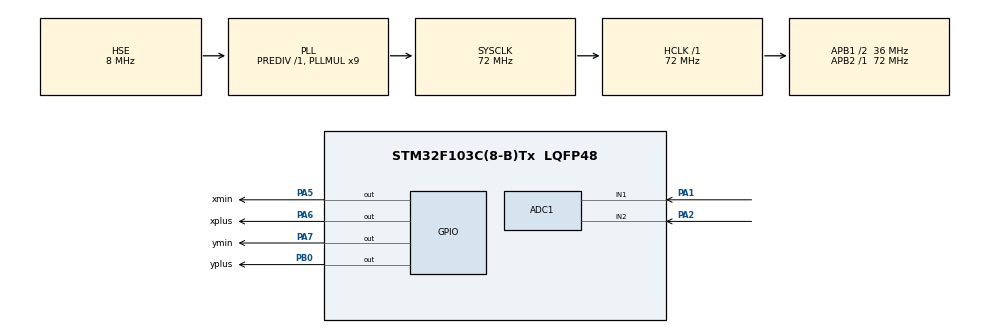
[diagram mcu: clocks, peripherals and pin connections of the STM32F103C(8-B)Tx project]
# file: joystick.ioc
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ADC1.Channel-0\#ChannelRegularConversion=ADC_CHANNEL_1
ADC1.Channel-1\#ChannelRegularConversion=ADC_CHANNEL_2
ADC1.ContinuousConvMode=ENABLE
ADC1.EnableInjectedConversion=ENABLE
ADC1.NbrOfConversion=2
ADC1.NbrOfConversionFlag=1
ADC1.Rank-1\#ChannelRegularConversion=2
ADC1.SamplingTime-0\#ChannelRegularConversion=ADC_SAMPLETIME_239CYCLES_5
ADC1.SamplingTime-1\#ChannelRegularConversion=ADC_SAMPLETIME_239CYCLES_5
ADC1.master=1
Dma.ADC1.0.Direction=DMA_PERIPH_TO_MEMORY
Dma.ADC1.0.Instance=DMA1_Channel1
Dma.ADC1.0.MemDataAlignment=DMA_MDATAALIGN_WORD
Dma.ADC1.0.MemInc=DMA_MINC_ENABLE
Dma.ADC1.0.Mode=DMA_CIRCULAR
Dma.ADC1.0.PeriphDataAlignment=DMA_PDATAALIGN_WORD
Dma.ADC1.0.PeriphInc=DMA_PINC_DISABLE
Dma.ADC1.0.Priority=DMA_PRIORITY_LOW
Dma.Request0=ADC1
Mcu.Family=STM32F1
Mcu.Name=STM32F103C(8-B)Tx
Mcu.Package=LQFP48
NVIC.DMA1_Channel1_IRQn=true\:0\:0\:false\:false\:true\:false\:true\:true
NVIC.PriorityGroup=NVIC_PRIORITYGROUP_4
PA1.Signal=ADCx_IN1
PA13.Mode=Serial_Wire
PA13.Signal=SYS_JTMS-SWDIO
PA14.Mode=Serial_Wire
PA14.Signal=SYS_JTCK-SWCLK
PA2.Signal=ADCx_IN2
PA5.GPIO_Label=xmin
PA5.GPIO_ModeDefaultOutputPP=GPIO_MODE_OUTPUT_PP
PA5.GPIO_PuPd=GPIO_NOPULL
PA5.GPIO_Speed=GPIO_SPEED_FREQ_HIGH
PA5.PinState=GPIO_PIN_RESET
PA5.Signal=GPIO_Output
PA6.GPIO_Label=xplus
PA6.GPIO_ModeDefaultOutputPP=GPIO_MODE_OUTPUT_PP
PA6.GPIO_PuPd=GPIO_NOPULL
PA6.GPIO_Speed=GPIO_SPEED_FREQ_HIGH
PA6.PinState=GPIO_PIN_RESET
PA6.Signal=GPIO_Output
PA7.GPIO_Label=ymin
PA7.GPIO_ModeDefaultOutputPP=GPIO_MODE_OUTPUT_PP
PA7.GPIO_PuPd=GPIO_NOPULL
PA7.GPIO_Speed=GPIO_SPEED_FREQ_HIGH
PA7.PinState=GPIO_PIN_RESET
PA7.Signal=GPIO_Output
PB0.GPIO_Label=yplus
PB0.GPIO_ModeDefaultOutputPP=GPIO_MODE_OUTPUT_PP
PB0.GPIO_PuPd=GPIO_NOPULL
PB0.GPIO_Speed=GPIO_SPEED_FREQ_HIGH
PB0.PinState=GPIO_PIN_RESET
PB0.Signal=GPIO_Output
PD0-OSC_IN.Mode=HSE-External-Oscillator
PD0-OSC_IN.Signal=RCC_OSC_IN
PD1-OSC_OUT.Mode=HSE-External-Oscillator
PD1-OSC_OUT.Signal=RCC_OSC_OUT
ProjectManager.HeapSize=0x200
ProjectManager.StackSize=0x400
ProjectManager.TargetToolchain=STM32CubeIDE
RCC.ADCPresc=RCC_ADCPCLK2_DIV6
RCC.AHBFreq_Value=72000000
RCC.APB1CLKDivider=RCC_HCLK_DIV2
RCC.APB1Freq_Value=36000000
RCC.APB1TimFreq_Value=72000000
RCC.APB2Freq_Value=72000000
RCC.APB2TimFreq_Value=72000000
RCC.HCLKFreq_Value=72000000
RCC.PLLMUL=RCC_PLL_MUL9
RCC.PLLSourceVirtual=RCC_PLLSOURCE_HSE
RCC.SYSCLKFreq_VALUE=72000000
RCC.SYSCLKSource=RCC_SYSCLKSOURCE_PLLCLK
RCC.USBFreq_Value=48000000
RCC.USBPrescaler=RCC_USBCLKSOURCE_PLL_DIV1_5
SH.ADCx_IN1.0=ADC1_IN1,IN1
SH.ADCx_IN2.0=ADC1_IN2,IN2
board=custom

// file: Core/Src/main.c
/* USER CODE BEGIN Header */
/**
  ******************************************************************************
  * @file           : main.c
  * @brief          : Main program body
  ******************************************************************************
  * @attention
  *
  * Copyright (c) 2023 STMicroelectronics.
  * All rights reserved.
  *
  * This software is licensed under terms that can be found in the LICENSE file
  * in the root directory of this software component.
  * If no LICENSE file comes with this software, it is provided AS-IS.
  *
  ******************************************************************************
  */
/* USER CODE END Header */
#include "main.h"

ADC_HandleTypeDef hadc1;
DMA_HandleTypeDef hdma_adc1;

void SystemClock_Config(void);
static void MX_GPIO_Init(void);
static void MX_DMA_Init(void);
static void MX_ADC1_Init(void);

/* USER CODE BEGIN 0 */
uint32_t VR[2];

/* USER CODE END 0 */

int main(void)
{

  /* MCU Configuration--------------------------------------------------------*/

  /* Reset of all peripherals, Initializes the Flash interface and the Systick. */
  HAL_Init();

  /* Configure the system clock */
  SystemClock_Config();

  /* Initialize all configured peripherals */
  MX_GPIO_Init();
  MX_DMA_Init();
  MX_ADC1_Init();
  /* USER CODE BEGIN 2 */
  HAL_ADC_Start_DMA(&hadc1, VR, 2);  // start adc in dma mode for multichannel

  /* USER CODE END 2 */

  /* Infinite loop */
  while (1)
  {

    /* USER CODE BEGIN 3 */
	  if ((VR[0]>=2000)&&(VR[0]<=3000))   // if the value is between 2000 to 3000
	 	  {
	 		  HAL_GPIO_WritePin(xmin_GPIO_Port, xmin_Pin, GPIO_PIN_RESET);  // turn of xmin led
	 		  HAL_GPIO_WritePin(xplus_GPIO_Port, xplus_Pin, GPIO_PIN_RESET);  // turn of xplus led
	 	  }

	 	  if ((VR[1]>=2000) && (VR[1]<=3000))
	 	  {
	 		  HAL_GPIO_WritePin(ymin_GPIO_Port, ymin_Pin, GPIO_PIN_RESET);  // turn off ymin
	 		  HAL_GPIO_WritePin(yplus_GPIO_Port, yplus_Pin, GPIO_PIN_RESET);  // turn of yplus
	 	  }

	 	  if ((VR[0]>=4000))  // towards xplus
	 	  {
	 		  HAL_GPIO_WritePin(xmin_GPIO_Port, xmin_Pin, GPIO_PIN_RESET);
	 		  HAL_GPIO_WritePin(xplus_GPIO_Port, xplus_Pin, GPIO_PIN_SET);
	 	  }

	 	  if ((VR[0]<=800))  // towards xmin
	 	  {
	 		  HAL_GPIO_WritePin(xmin_GPIO_Port, xmin_Pin, GPIO_PIN_SET);
	 		  HAL_GPIO_WritePin(xplus_GPIO_Port, xplus_Pin, GPIO_PIN_RESET);
	 	  }

	 	  if ((VR[1]>=4000))   // towards yplus
	 	  {
	 		  HAL_GPIO_WritePin(ymin_GPIO_Port, ymin_Pin, GPIO_PIN_RESET);
	 		  HAL_GPIO_WritePin(yplus_GPIO_Port, yplus_Pin, GPIO_PIN_SET);
	 	  }

	 	  if ((VR[1]<=800))  // ymin
	 	  {
	 		  HAL_GPIO_WritePin(ymin_GPIO_Port, ymin_Pin, GPIO_PIN_SET);
	 		  HAL_GPIO_WritePin(yplus_GPIO_Port, yplus_Pin, GPIO_PIN_RESET);
	 	  }
  }
  /* USER CODE END 3 */
}

void SystemClock_Config(void)
{
  RCC_OscInitTypeDef RCC_OscInitStruct = {0};
  RCC_ClkInitTypeDef RCC_ClkInitStruct = {0};
  RCC_PeriphCLKInitTypeDef PeriphClkInit = {0};

  /** Initializes the RCC Oscillators according to the specified parameters
  * in the RCC_OscInitTypeDef structure.
  */
  RCC_OscInitStruct.OscillatorType = RCC_OSCILLATORTYPE_HSE;
  RCC_OscInitStruct.HSEState = RCC_HSE_ON;
  RCC_OscInitStruct.HSEPredivValue = RCC_HSE_PREDIV_DIV1;
  RCC_OscInitStruct.HSIState = RCC_HSI_ON;
  RCC_OscInitStruct.PLL.PLLState = RCC_PLL_ON;
  RCC_OscInitStruct.PLL.PLLSource = RCC_PLLSOURCE_HSE;
  RCC_OscInitStruct.PLL.PLLMUL = RCC_PLL_MUL9;
  if (HAL_RCC_OscConfig(&RCC_OscInitStruct) != HAL_OK)
  {
    Error_Handler();
  }

  /** Initializes the CPU, AHB and APB buses clocks
  */
  RCC_ClkInitStruct.ClockType = RCC_CLOCKTYPE_HCLK|RCC_CLOCKTYPE_SYSCLK
                              |RCC_CLOCKTYPE_PCLK1|RCC_CLOCKTYPE_PCLK2;
  RCC_ClkInitStruct.SYSCLKSource = RCC_SYSCLKSOURCE_PLLCLK;
  RCC_ClkInitStruct.AHBCLKDivider = RCC_SYSCLK_DIV1;
  RCC_ClkInitStruct.APB1CLKDivider = RCC_HCLK_DIV2;
  RCC_ClkInitStruct.APB2CLKDivider = RCC_HCLK_DIV1;

  if (HAL_RCC_ClockConfig(&RCC_ClkInitStruct, FLASH_LATENCY_2) != HAL_OK)
  {
    Error_Handler();
  }
  PeriphClkInit.PeriphClockSelection = RCC_PERIPHCLK_ADC;
  PeriphClkInit.AdcClockSelection = RCC_ADCPCLK2_DIV6;
  if (HAL_RCCEx_PeriphCLKConfig(&PeriphClkInit) != HAL_OK)
  {
    Error_Handler();
  }
}

static void MX_ADC1_Init(void)
{

  ADC_ChannelConfTypeDef sConfig = {0};

  /** Common config
  */
  hadc1.Instance = ADC1;
  hadc1.Init.ScanConvMode = ADC_SCAN_ENABLE;
  hadc1.Init.ContinuousConvMode = ENABLE;
  hadc1.Init.DiscontinuousConvMode = DISABLE;
  hadc1.Init.ExternalTrigConv = ADC_SOFTWARE_START;
  hadc1.Init.DataAlign = ADC_DATAALIGN_RIGHT;
  hadc1.Init.NbrOfConversion = 2;
  if (HAL_ADC_Init(&hadc1) != HAL_OK)
  {
    Error_Handler();
  }

  /** Configure Regular Channel
  */
  sConfig.Channel = ADC_CHANNEL_1;
  sConfig.Rank = ADC_REGULAR_RANK_1;
  sConfig.SamplingTime = ADC_SAMPLETIME_239CYCLES_5;
  if (HAL_ADC_ConfigChannel(&hadc1, &sConfig) != HAL_OK)
  {
    Error_Handler();
  }

  /** Configure Regular Channel
  */
  sConfig.Channel = ADC_CHANNEL_2;
  sConfig.Rank = ADC_REGULAR_RANK_2;
  if (HAL_ADC_ConfigChannel(&hadc1, &sConfig) != HAL_OK)
  {
    Error_Handler();
  }

}

static void MX_DMA_Init(void)
{

  /* DMA controller clock enable */
  __HAL_RCC_DMA1_CLK_ENABLE();

  /* DMA interrupt init */
  /* DMA1_Channel1_IRQn interrupt configuration */
  HAL_NVIC_SetPriority(DMA1_Channel1_IRQn, 0, 0);
  HAL_NVIC_EnableIRQ(DMA1_Channel1_IRQn);

}

static void MX_GPIO_Init(void)
{
  GPIO_InitTypeDef GPIO_InitStruct = {0};

  /* GPIO Ports Clock Enable */
  __HAL_RCC_GPIOD_CLK_ENABLE();
  __HAL_RCC_GPIOA_CLK_ENABLE();
  __HAL_RCC_GPIOB_CLK_ENABLE();

  /*Configure GPIO pin Output Level */
  HAL_GPIO_WritePin(GPIOA, xmin_Pin|xplus_Pin|ymin_Pin, GPIO_PIN_RESET);

  /*Configure GPIO pin Output Level */
  HAL_GPIO_WritePin(yplus_GPIO_Port, yplus_Pin, GPIO_PIN_RESET);

  /*Configure GPIO pins : xmin_Pin xplus_Pin ymin_Pin */
  GPIO_InitStruct.Pin = xmin_Pin|xplus_Pin|ymin_Pin;
  GPIO_InitStruct.Mode = GPIO_MODE_OUTPUT_PP;
  GPIO_InitStruct.Pull = GPIO_NOPULL;
  GPIO_InitStruct.Speed = GPIO_SPEED_FREQ_HIGH;
  HAL_GPIO_Init(GPIOA, &GPIO_InitStruct);

  /*Configure GPIO pin : yplus_Pin */
  GPIO_InitStruct.Pin = yplus_Pin;
  GPIO_InitStruct.Mode = GPIO_MODE_OUTPUT_PP;
  GPIO_InitStruct.Pull = GPIO_NOPULL;
  GPIO_InitStruct.Speed = GPIO_SPEED_FREQ_HIGH;
  HAL_GPIO_Init(yplus_GPIO_Port, &GPIO_InitStruct);

}

void Error_Handler(void)
{
  __disable_irq();
  while (1)
  {
  }
}
